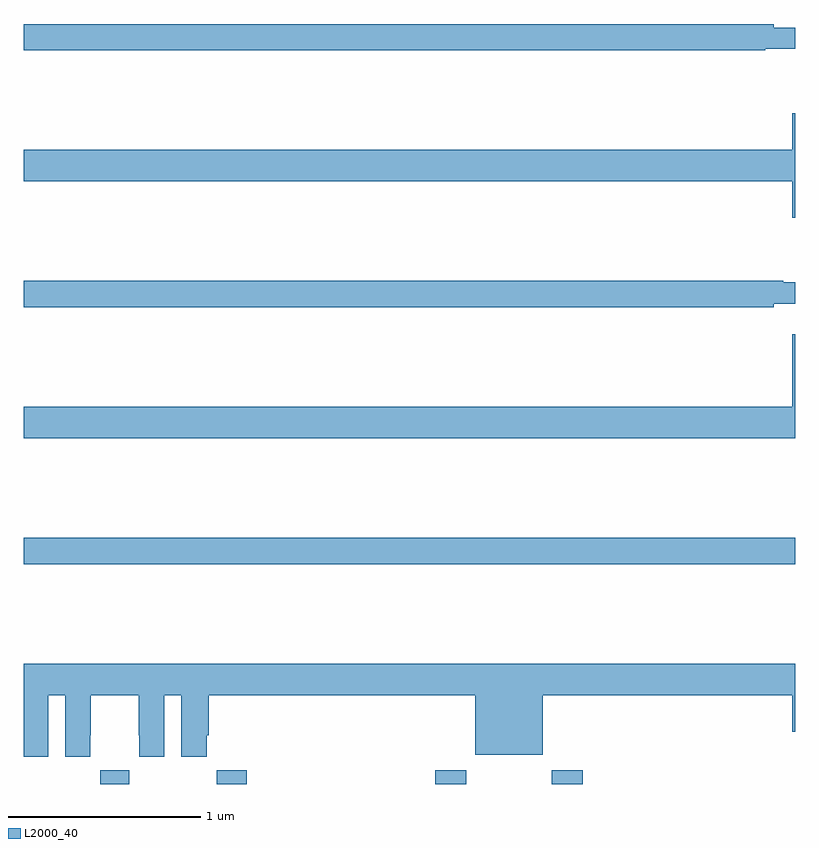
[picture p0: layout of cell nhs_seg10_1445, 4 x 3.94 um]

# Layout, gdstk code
import gdstk
lib = gdstk.Library(unit=1e-6, precision=1e-09)
def R(c, l, rs):  # rectangles x0, y0, x1, y1
    for r in rs: c.add(gdstk.rectangle(r[:2], r[2:], *l))
def P(c, l, *ps):  # polygons
    for p in ps: c.add(gdstk.Polygon(p, *l))
L2000_40 = (2000, 40)

nhs_seg10_1445 = lib.new_cell('nhs_seg10_1445')
R(nhs_seg10_1445, L2000_40, [(185.397,1322.5,185.547,1322.572), (186.001,1322.5,186.155,1322.572), (187.133,1322.5,187.293,1322.572), (187.738,1322.5,187.898,1322.572), (185,1323.64,189,1323.776)])
P(nhs_seg10_1445, L2000_40, [(188.845,1326.312),(189,1326.312),(189,1326.421),(188.888,1326.421),(188.888,1326.44),(185,1326.44),(185,1326.304),(188.845,1326.304)],
  [(189,1325.977),(188.984,1325.977),(188.984,1325.788),(185,1325.788),(185,1325.624),(188.984,1325.624),(188.984,1325.436),(189,1325.436)],
  [(188.888,1324.991),(189,1324.991),(189,1325.101),(188.938,1325.101),(188.938,1325.108),(185,1325.108),(185,1324.972),(188.888,1324.972)],
  [(189,1324.831),(188.984,1324.831),(188.984,1324.456),(185,1324.456),(185,1324.292),(189,1324.292)],
  [(185.128,1322.96),(185.216,1322.96),(185.216,1322.64),(185.346,1322.64),(185.346,1322.752),(185.347,1322.752),(185.347,1322.96),(185.597,1322.96),(185.597,1322.752),(185.598,1322.752),(185.598,1322.64),(185.728,1322.64),(185.728,1322.96),(185.816,1322.96),(185.816,1322.64),(185.95,1322.64),(185.95,1322.752),(185.96,1322.752),(185.96,1322.96),(187.34,1322.96),(187.34,1322.651),(187.69,1322.651),(187.69,1322.96),(188.984,1322.96),(188.984,1322.772),(189,1322.772),(189,1323.124),(185,1323.124),(185,1322.64),(185.128,1322.64)])

lib.write_gds('nhs_seg10_1445.gds')
